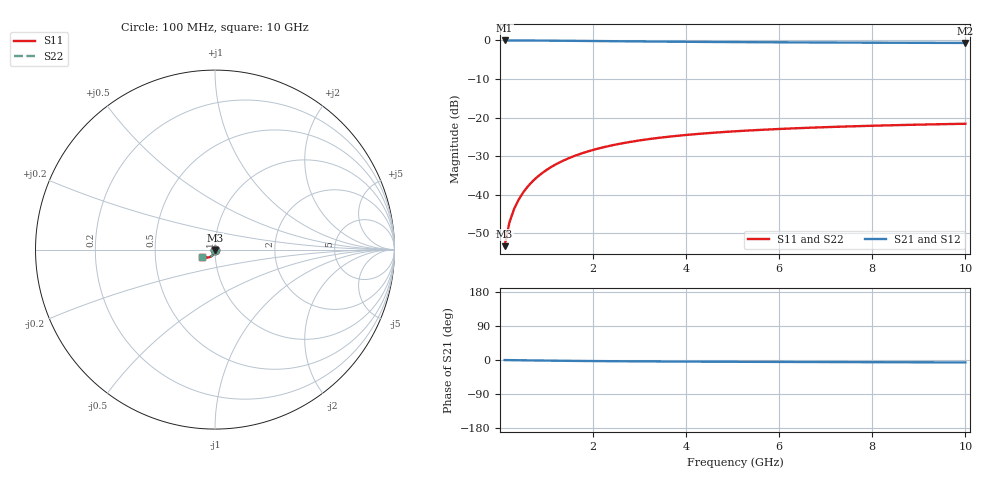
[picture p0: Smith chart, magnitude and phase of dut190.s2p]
! Touchstone file exported from HFSS 2024.1.0
!  File:  C:/UserFiles/LocalFiles/RDL_TSV_Batchsim/temp_TSV1_190_1779384922.aedt
!  Generated:  01:40:40 AM May 22, 2026
!  Design:  TSV1
!  Project:  temp_TSV1_190_1779384922
!  Setup:  Setup1
!  Solution:  Sweep
! Variables:
!  dtsv = 13.42um
!  hbump = 3um
!  htsv = 98.29um
!  lrdl = 252.1521522um
!  p = 40
!  p1 = 41.28um
!  t = 500um
!  trdl = 3um
!  wrdl = 24.89489489um
# GHz S MA R 50.000000
! Terminal data exported
! Port[1] = TSV22_T1
! Port[2] = TSV22_T2
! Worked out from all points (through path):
!   100 points, 100 MHz to 10 GHz, reference 50 ohm
!   highest |S21| = 0.00 dB at 100 MHz (marker M1); lowest = -0.6 dB at 10 GHz (marker M2)
!   lowest |S11| = -53.4 dB at 100 MHz (marker M3), VSWR 1.00, Z = 50 - j0.215 ohm
!   |S11| at or under -10 dB: start of sweep to end of sweep
!   |S22| runs from -53.4 to -21.6 dB; largest |S21 - S12| = 4.1e-15
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0.1  0.00215 -88.7  0.9998 -0.2  0.9998 -0.2  0.00215 -88.7
! Gamma 0 0 0 0
! Port Impedance 50 0 50 0
0.2  0.004299 -91.3  0.9997 -0.3  0.9997 -0.3  0.004299 -91.3
0.3  0.006449 -93.2  0.9994 -0.5  0.9994 -0.5  0.006449 -93.2
0.4  0.008591 -94.8  0.999 -0.7  0.999 -0.7  0.008591 -94.8
0.5  0.01072 -96.4  0.9985 -0.8  0.9985 -0.8  0.01072 -96.4
0.6  0.01282 -98.0  0.9979 -1.0  0.9979 -1.0  0.01282 -98.0
0.7  0.01489 -99.5  0.9972 -1.1  0.9972 -1.1  0.01489 -99.5
0.8  0.01694 -100.9  0.9964 -1.3  0.9964 -1.3  0.01694 -100.9
0.9  0.01894 -102.4  0.9956 -1.4  0.9956 -1.4  0.01894 -102.4
1.1  0.02283 -105.2  0.9938 -1.7  0.9938 -1.7  0.02283 -105.2
1.4  0.02833 -109.1  0.9906 -2.1  0.9906 -2.1  0.02833 -109.1
1.6  0.03176 -111.6  0.9883 -2.3  0.9883 -2.3  0.03176 -111.6
1.8  0.03499 -113.9  0.9859 -2.6  0.9859 -2.6  0.03499 -113.9
2.1  0.03948 -117.2  0.9822 -2.9  0.9822 -2.9  0.03948 -117.2
2.5  0.0448 -121.1  0.9772 -3.2  0.9772 -3.2  0.0448 -121.1
2.9  0.04945 -124.6  0.9725 -3.5  0.9725 -3.5  0.04945 -124.6
3.4  0.05445 -128.4  0.9669 -3.9  0.9669 -3.9  0.05445 -128.4
4.2  0.06095 -133.5  0.9591 -4.3  0.9591 -4.3  0.06095 -133.5
5.1  0.06663 -137.9  0.9517 -4.7  0.9517 -4.7  0.06663 -138.0
6.7  0.07399 -143.8  0.9417 -5.3  0.9417 -5.3  0.07399 -143.8
8.4  0.07942 -148.3  0.934 -5.9  0.934 -5.9  0.07942 -148.3
10  0.08315 -151.4  0.9287 -6.5  0.9287 -6.5  0.08315 -151.4
